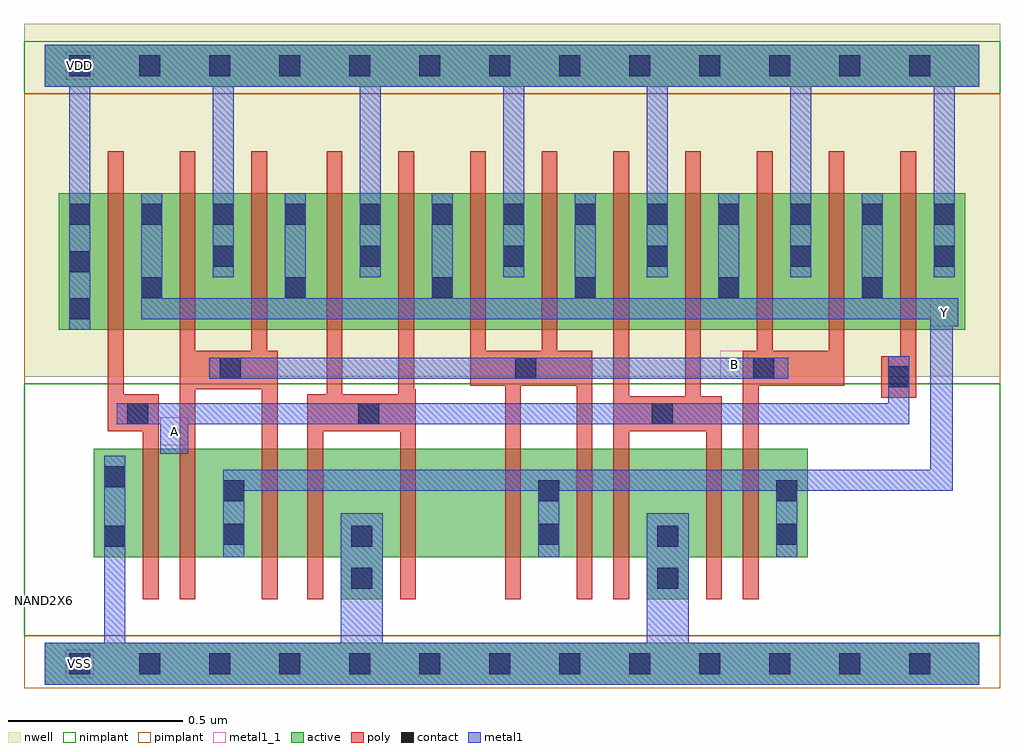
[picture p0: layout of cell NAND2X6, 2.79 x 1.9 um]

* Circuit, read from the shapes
.subckt NAND2X6 A B VDD VSS Y
M1 n1 A VSS VSS nfet w=0.31u l=0.045u
M2 Y B n1 VSS nfet w=0.31u l=0.045u
M3 n2 B Y VSS nfet w=0.31u l=0.045u
M4 VSS A n2 VSS nfet w=0.31u l=0.045u
M5 n3 A VSS VSS nfet w=0.31u l=0.045u
M6 Y B n3 VSS nfet w=0.31u l=0.045u
M7 n4 B Y VSS nfet w=0.31u l=0.045u
M8 VSS A n4 VSS nfet w=0.31u l=0.045u
M9 n5 A VSS VSS nfet w=0.31u l=0.045u
M10 Y B n5 VSS nfet w=0.31u l=0.045u
M11 Y A VDD VDD pfet w=0.39u l=0.045u m=6
M12 VDD B Y VDD pfet w=0.39u l=0.045u m=6
.ends

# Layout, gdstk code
import gdstk
lib = gdstk.Library(unit=1e-6, precision=5e-10)
def R(c, l, rs):  # rectangles x0, y0, x1, y1
    for r in rs: c.add(gdstk.rectangle(r[:2], r[2:], *l))
def A(c, l, x, y, w, h, nx, ny, dx, dy):  # array of equal rectangles
    R(c, l, [(x+i*dx, y+j*dy, x+i*dx+w, y+j*dy+h) for i in range(nx) for j in range(ny)])
def P(c, l, *ps):  # polygons
    for p in ps: c.add(gdstk.Polygon(p, *l))
active = (1, 0)
nwell = (2, 0)
poly = (3, 0)
nimplant = (4, 0)
pimplant = (5, 0)
contact = (6, 0)
metal1 = (7, 0)
metal1_1 = (7, 1)

nand2x6 = lib.new_cell('NAND2X6')
R(nand2x6, active, [(0,-0.06,2.67,0.06), (0.04,0.955,2.63,1.345), (0,1.65,2.67,1.77)])
P(nand2x6, active, [(2.18,0.615),(0.14,0.615),(0.14,0.305),(0.845,0.305),(0.845,0.185),(0.965,0.185),(0.965,0.305),(1.72,0.305),(1.72,0.185),(1.84,0.185),(1.84,0.305),(2.18,0.305)])
R(nand2x6, nwell, [(-0.06,0.82,2.73,1.83)])
P(nand2x6, poly, [(2.285,1.465),(2.24,1.465),(2.24,0.895),(2.08,0.895),(2.08,1.465),(2.035,1.465),(2.035,0.895),(1.995,0.895),(1.995,0.185),(2.04,0.185),(2.04,0.795),(2.285,0.795)],
  [(1.565,0.895),(1.465,0.895),(1.465,1.465),(1.42,1.465),(1.42,0.895),(1.26,0.895),(1.26,1.465),(1.215,1.465),(1.215,0.795),(1.315,0.795),(1.315,0.185),(1.36,0.185),(1.36,0.795),(1.52,0.795),(1.52,0.185),(1.565,0.185)],
  [(1.06,0.785),(1.055,0.785),(1.055,1.465),(1.01,1.465),(1.01,0.77),(0.85,0.77),(0.85,1.465),(0.805,1.465),(0.805,0.77),(0.75,0.77),(0.75,0.185),(0.795,0.185),(0.795,0.665),(1.015,0.665),(1.015,0.185),(1.06,0.185)],
  [(1.935,0.765),(1.875,0.765),(1.875,1.465),(1.83,1.465),(1.83,0.765),(1.67,0.765),(1.67,1.465),(1.625,1.465),(1.625,0.185),(1.67,0.185),(1.67,0.665),(1.89,0.665),(1.89,0.185),(1.935,0.185)],
  [(0.665,0.895),(0.635,0.895),(0.635,1.465),(0.59,1.465),(0.59,0.895),(0.43,0.895),(0.43,1.465),(0.385,1.465),(0.385,0.185),(0.43,0.185),(0.43,0.785),(0.62,0.785),(0.62,0.185),(0.665,0.185)],
  [(2.49,1.465),(2.445,1.465),(2.445,0.88),(2.39,0.88),(2.39,0.76),(2.49,0.76)],
  [(0.325,0.77),(0.225,0.77),(0.225,1.465),(0.18,1.465),(0.18,0.665),(0.28,0.665),(0.28,0.185),(0.325,0.185)])
R(nand2x6, nimplant, [(-0.06,0.08,2.73,0.8), (-0.06,1.63,2.73,1.78)])
R(nand2x6, pimplant, [(-0.06,-0.07,2.73,0.08), (-0.06,0.8,2.73,1.63)])
A(nand2x6, contact, 0.07, -0.03, 0.06, 0.06, 13, 2, 0.2, 1.71)
A(nand2x6, contact, 1.105, 1.045, 0.06, 0.06, 4, 1, 0.41, 0)
A(nand2x6, contact, 0.9, 1.135, 0.06, 0.06, 5, 1, 0.41, 0)
A(nand2x6, contact, 0.07, 1.255, 0.06, 0.06, 4, 1, 0.205, 0)
A(nand2x6, contact, 0.9, 1.255, 0.06, 0.06, 9, 1, 0.205, 0)
R(nand2x6, contact, [(0.875,0.215,0.935,0.275), (1.75,0.215,1.81,0.275), (0.17,0.335,0.23,0.395), (0.875,0.335,0.935,0.395), (1.75,0.335,1.81,0.395), (0.51,0.34,0.57,0.4), (1.41,0.34,1.47,0.4), (2.09,0.34,2.15,0.4), (0.51,0.465,0.57,0.525), (1.41,0.465,1.47,0.525), (2.09,0.465,2.15,0.525), (0.17,0.505,0.23,0.565), (0.235,0.685,0.295,0.745), (0.895,0.685,0.955,0.745), (1.735,0.685,1.795,0.745), (2.41,0.79,2.47,0.85), (0.5,0.815,0.56,0.875), (1.345,0.815,1.405,0.875), (2.025,0.815,2.085,0.875), (0.07,0.985,0.13,1.045), (0.275,1.045,0.335,1.105), (0.685,1.045,0.745,1.105), (0.07,1.12,0.13,1.18), (0.48,1.135,0.54,1.195)])
R(nand2x6, metal1, [(0.47,0.815,2.125,0.875)])
P(nand2x6, metal1, [(2.67,0.06),(1.84,0.06),(1.84,0.43),(1.72,0.43),(1.72,0.06),(0.965,0.06),(0.965,0.43),(0.845,0.43),(0.845,0.06),(0.23,0.06),(0.23,0.595),(0.17,0.595),(0.17,0.06),(0,0.06),(0,-0.06),(2.67,-0.06)],
  [(2.67,1.77),(0,1.77),(0,1.65),(0.07,1.65),(0.07,0.955),(0.13,0.955),(0.13,1.65),(0.48,1.65),(0.48,1.105),(0.54,1.105),(0.54,1.65),(0.9,1.65),(0.9,1.105),(0.96,1.105),(0.96,1.65),(1.31,1.65),(1.31,1.105),(1.37,1.105),(1.37,1.65),(1.72,1.65),(1.72,1.105),(1.78,1.105),(1.78,1.65),(2.13,1.65),(2.13,1.105),(2.19,1.105),(2.19,1.65),(2.54,1.65),(2.54,1.105),(2.6,1.105),(2.6,1.65),(2.67,1.65)],
  [(2.61,1.045),(2.395,1.045),(2.395,1.345),(2.335,1.345),(2.335,1.045),(1.985,1.045),(1.985,1.345),(1.925,1.345),(1.925,1.045),(1.575,1.045),(1.575,1.345),(1.515,1.345),(1.515,1.045),(1.165,1.045),(1.165,1.345),(1.105,1.345),(1.105,1.045),(0.745,1.045),(0.745,1.345),(0.685,1.345),(0.685,1.045),(0.335,1.045),(0.335,1.345),(0.275,1.345),(0.275,0.985),(2.53,0.985),(2.53,0.555),(0.51,0.555),(0.51,0.305),(0.57,0.305),(0.57,0.495),(1.41,0.495),(1.41,0.305),(1.47,0.305),(1.47,0.495),(2.09,0.495),(2.09,0.305),(2.15,0.305),(2.15,0.495),(2.595,0.495),(2.595,0.965),(2.61,0.965)],
  [(2.47,0.88),(2.41,0.88),(2.41,0.745),(0.205,0.745),(0.205,0.685),(0.33,0.685),(0.33,0.6),(0.41,0.6),(0.41,0.685),(2.47,0.685)])
R(nand2x6, metal1_1, [(0.06,-0.04,0.14,0.04), (0.33,0.625,0.41,0.705), (1.93,0.815,2.01,0.895), (2.53,0.965,2.61,1.045), (0.06,1.67,0.14,1.75)])
nand2x6.add(gdstk.Label('VSS', (0.1,0), layer=7, texttype=1))
nand2x6.add(gdstk.Label('Y', (2.57,1.005), layer=7, texttype=1))
nand2x6.add(gdstk.Label('B', (1.97,0.855), layer=7, texttype=1))
nand2x6.add(gdstk.Label('A', (0.37,0.665), layer=7, texttype=1))
nand2x6.add(gdstk.Label('VDD', (0.1,1.71), layer=7, texttype=1))
nand2x6.add(gdstk.Label('NAND2X6', (0,0.18), layer=63, texttype=0))

lib.write_gds('NAND2X6.gds')
